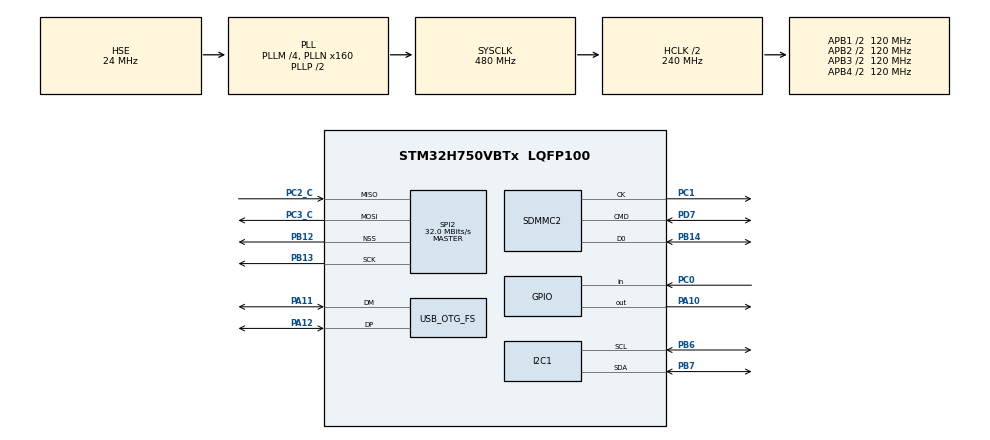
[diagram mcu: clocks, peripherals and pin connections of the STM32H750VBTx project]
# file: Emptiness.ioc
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CORTEX_M7.CPU_ICache=Enabled
CORTEX_M7.Enable-Cortex_Memory_Protection_Unit_Region0_Settings=__NULL
CORTEX_M7.MPU_Control=__NULL
I2C1.Timing=0x307075B1
Mcu.Family=STM32H7
Mcu.Name=STM32H750VBTx
Mcu.Package=LQFP100
NVIC.OTG_FS_IRQn=true\:0\:0\:false\:false\:true\:false\:true\:true
NVIC.PriorityGroup=NVIC_PRIORITYGROUP_4
NVIC.SDMMC2_IRQn=true\:0\:0\:false\:false\:true\:true\:true\:true
PA10.PinState=GPIO_PIN_SET
PA10.Signal=GPIO_Output
PA11.Mode=Device_Only
PA11.Signal=USB_OTG_FS_DM
PA12.Mode=Device_Only
PA12.Signal=USB_OTG_FS_DP
PA13\ (JTMS/SWDIO).Mode=Serial_Wire
PA13\ (JTMS/SWDIO).Signal=DEBUG_JTMS-SWDIO
PA14\ (JTCK/SWCLK).Mode=Serial_Wire
PA14\ (JTCK/SWCLK).Signal=DEBUG_JTCK-SWCLK
PB12.Mode=NSS_Signal_Hard_Output
PB12.Signal=SPI2_NSS
PB13.Mode=Full_Duplex_Master
PB13.Signal=SPI2_SCK
PB14.GPIO_PuPd=GPIO_PULLUP
PB14.Mode=SD_1_bit
PB14.Signal=SDMMC2_D0
PB6.GPIO_Pu=GPIO_PULLUP
PB6.Mode=I2C
PB6.Signal=I2C1_SCL
PB7.GPIO_Pu=GPIO_PULLUP
PB7.Mode=I2C
PB7.Signal=I2C1_SDA
PC0.GPIO_PuPd=GPIO_PULLUP
PC0.Signal=GPIO_Input
PC1.GPIO_PuPd=GPIO_PULLUP
PC1.Mode=SD_1_bit
PC1.Signal=SDMMC2_CK
PC2_C.Mode=Full_Duplex_Master
PC2_C.Signal=SPI2_MISO
PC3_C.Mode=Full_Duplex_Master
PC3_C.Signal=SPI2_MOSI
PD7.GPIO_PuPd=GPIO_PULLUP
PD7.Mode=SD_1_bit
PD7.Signal=SDMMC2_CMD
PH0-OSC_IN\ (PH0).Mode=HSE-External-Oscillator
PH0-OSC_IN\ (PH0).Signal=RCC_OSC_IN
PH1-OSC_OUT\ (PH1).Mode=HSE-External-Oscillator
PH1-OSC_OUT\ (PH1).Signal=RCC_OSC_OUT
ProjectManager.HeapSize=0x2000
ProjectManager.StackSize=0x4000
ProjectManager.TargetToolchain=STM32CubeIDE
RCC.ADCFreq_Value=192000000
RCC.APB1Freq_Value=120000000
RCC.APB2Freq_Value=120000000
RCC.APB3Freq_Value=120000000
RCC.APB4Freq_Value=120000000
RCC.CortexFreq_Value=480000000
RCC.D1PPRE=RCC_APB3_DIV2
RCC.D2PPRE1=RCC_APB1_DIV2
RCC.D2PPRE2=RCC_APB2_DIV2
RCC.D3PPRE=RCC_APB4_DIV2
RCC.DIVM1=4
RCC.DIVM2=8
RCC.DIVM3=16
RCC.DIVN1=160
RCC.DIVN2=128
RCC.DIVN3=128
RCC.DIVQ1=15
RCC.DIVQ3=4
RCC.DIVR2=16
RCC.EnbaleCSS=true
RCC.HCLKFreq_Value=240000000
RCC.HPRE=RCC_HCLK_DIV2
RCC.HSE_VALUE=24000000
RCC.PLLSourceVirtual=RCC_PLLSOURCE_HSE
RCC.SDMMC1CLockSelection=RCC_SDMMCCLKSOURCE_PLL2
RCC.SYSCLKFreq_VALUE=480000000
RCC.SYSCLKSource=RCC_SYSCLKSOURCE_PLLCLK
RCC.USBCLockSelection=RCC_USBCLKSOURCE_PLL3
RCC.USBFreq_Value=48000000
SDMMC2.ClockDiv=0
SPI2.BaudRatePrescaler=SPI_BAUDRATEPRESCALER_2
SPI2.CalculateBaudRate=32.0 MBits/s
SPI2.DataSize=SPI_DATASIZE_8BIT
SPI2.Direction=SPI_DIRECTION_2LINES
SPI2.IOSwap=SPI_IO_SWAP_DISABLE
SPI2.Mode=SPI_MODE_MASTER
SPI2.NSSPMode=SPI_NSS_PULSE_DISABLE
SPI2.VirtualNSS=VM_NSSHARD
SPI2.VirtualType=VM_MASTER
USB_DEVICE.CLASS_NAME_FS=MSC
USB_DEVICE.MSC_MEDIA_PACKET-MSC_FS=0x4000
USB_DEVICE.VirtualMode-MSC_FS=Msc
USB_DEVICE.VirtualModeFS=Msc_FS
USB_OTG_FS.VirtualMode=Device_Only
VP_USB_DEVICE_VS_USB_DEVICE_MSC_FS.Mode=MSC_FS
board=custom

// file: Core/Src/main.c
/* USER CODE BEGIN Header */
/**
  ******************************************************************************
  * @file           : main.c
  * @brief          : Main program body
  ******************************************************************************
  * @attention
  *
  * Copyright (c) 2022 STMicroelectronics.
  * All rights reserved.
  *
  * This software is licensed under terms that can be found in the LICENSE file
  * in the root directory of this software component.
  * If no LICENSE file comes with this software, it is provided AS-IS.
  *
  ******************************************************************************
  */
/* USER CODE END Header */
#include "main.h"
#include "i2c.h"
#include "sdmmc.h"
#include "spi.h"
#include "usb_device.h"
#include "gpio.h"

/* USER CODE BEGIN Includes */
//#include "usbd_cdc_if.h"
#include "string.h"
#include "stdio.h"
#include "stdlib.h"

#include "../../Drivers/HW/i2c_lcd.h"
#include "../../Drivers/HW/ly68l6400.h"

HAL_SD_CardInfoTypeDef SDCardInfo;
/* USER CODE END Includes */

void SystemClock_Config(void);

int main(void)
{
  /* USER CODE BEGIN 1 */
	uint8_t helo[] = "Hello World!\n";
  /* USER CODE END 1 */

  /* Enable I-Cache---------------------------------------------------------*/
  SCB_EnableICache();

  /* MCU Configuration--------------------------------------------------------*/

  /* Reset of all peripherals, Initializes the Flash interface and the Systick. */
  HAL_Init();

  /* Configure the system clock */
  SystemClock_Config();

  /* Initialize all configured peripherals */
  MX_GPIO_Init();
  MX_SDMMC2_SD_Init();
  MX_USB_DEVICE_Init();
  MX_SPI2_Init();
  MX_I2C1_Init();
  /* USER CODE BEGIN 2 */

//  lcd_init();
//
//  lcd_send_string("HELLO WORLD");
//
//  HAL_Delay(1000);
//
//  lcd_put_cur(1, 0);
//
//  lcd_send_string("from CTECH");
//
//  HAL_Delay(2000);

//  lcd_clear();

//  FATFS *fs;
//  fmount(fs, "", 1);

//  HAL_SD_CardInfoTypeDef info;
//
//    HAL_SD_GetCardInfo(&hsd2, &info);

  uint8_t data = 0x20;
  uint8_t addr = 1;
  uint8_t msgTx[] = {PSRAM_WRITE_CMD, addr, addr, addr, data, data+1, data+2};
  uint8_t msgRx[sizeof(msgTx)] = {0};
  uint8_t cmd[] = {PSRAM_READ_CMD, addr, addr, addr};

  PsramReset();
  uint8_t tmpData = 0;
  for(uint32_t i = 0; i < (8 * 1024 * 1024); i++) {
	  PsramWrite(i, &tmpData,1);
	  tmpData++;
  }

  uint8_t * tmpRxPtr = PsramRead(1023, PSRAM_SPI_PACKET_SIZE);
//HAL_Delay(1);
  /* USER CODE END 2 */

  /* Infinite loop */
  while (1)
  {

    /* USER CODE BEGIN 3 */
//	  CDC_Transmit_FS(helo, sizeof(helo));
//	  HAL_GPIO_TogglePin(GPIOA, GPIO_PIN_10); // toggle led
//	  HAL_Delay(1000);

//	  for(int i = 0; i<sizeof(msgTx); i++)
//		  msgRx[i]=0;
//	  msgTx[0] = PSRAM_WRITE_CMD;
//	  msgTx[1] = addr;
//	  msgTx[2] = addr;
//	  msgTx[3] = addr;
//	  msgTx[4] = data;
//	  msgTx[5] = data+1;
//	  msgTx[6] = data+2;
//	  HAL_SPI_Transmit(&hspi2, msgTx, sizeof(msgTx), 1); // tx
//	  msgTx[0] = PSRAM_READ_CMD;
//	  msgTx[1] = addr;
//	  msgTx[2] = addr;
//	  msgTx[3] = addr;
//	  msgTx[4] = 0;
//	  msgTx[5] = 0;
//	  msgTx[6] = 0;
//	  HAL_SPI_TransmitReceive(&hspi2, msgTx, msgRx, sizeof(msgTx), 1);
//	  HAL_Delay(1);

  }
  /* USER CODE END 3 */
}

void SystemClock_Config(void)
{
  RCC_OscInitTypeDef RCC_OscInitStruct = {0};
  RCC_ClkInitTypeDef RCC_ClkInitStruct = {0};

  /** Supply configuration update enable
  */
  HAL_PWREx_ConfigSupply(PWR_LDO_SUPPLY);

  /** Configure the main internal regulator output voltage
  */
  __HAL_PWR_VOLTAGESCALING_CONFIG(PWR_REGULATOR_VOLTAGE_SCALE0);

  while(!__HAL_PWR_GET_FLAG(PWR_FLAG_VOSRDY)) {}

  /** Macro to configure the PLL clock source
  */
  __HAL_RCC_PLL_PLLSOURCE_CONFIG(RCC_PLLSOURCE_HSE);

  /** Initializes the RCC Oscillators according to the specified parameters
  * in the RCC_OscInitTypeDef structure.
  */
  RCC_OscInitStruct.OscillatorType = RCC_OSCILLATORTYPE_HSE;
  RCC_OscInitStruct.HSEState = RCC_HSE_ON;
  RCC_OscInitStruct.PLL.PLLState = RCC_PLL_ON;
  RCC_OscInitStruct.PLL.PLLSource = RCC_PLLSOURCE_HSE;
  RCC_OscInitStruct.PLL.PLLM = 4;
  RCC_OscInitStruct.PLL.PLLN = 160;
  RCC_OscInitStruct.PLL.PLLP = 2;
  RCC_OscInitStruct.PLL.PLLQ = 15;
  RCC_OscInitStruct.PLL.PLLR = 2;
  RCC_OscInitStruct.PLL.PLLRGE = RCC_PLL1VCIRANGE_2;
  RCC_OscInitStruct.PLL.PLLVCOSEL = RCC_PLL1VCOWIDE;
  RCC_OscInitStruct.PLL.PLLFRACN = 0;
  if (HAL_RCC_OscConfig(&RCC_OscInitStruct) != HAL_OK)
  {
    Error_Handler();
  }

  /** Initializes the CPU, AHB and APB buses clocks
  */
  RCC_ClkInitStruct.ClockType = RCC_CLOCKTYPE_HCLK|RCC_CLOCKTYPE_SYSCLK
                              |RCC_CLOCKTYPE_PCLK1|RCC_CLOCKTYPE_PCLK2
                              |RCC_CLOCKTYPE_D3PCLK1|RCC_CLOCKTYPE_D1PCLK1;
  RCC_ClkInitStruct.SYSCLKSource = RCC_SYSCLKSOURCE_PLLCLK;
  RCC_ClkInitStruct.SYSCLKDivider = RCC_SYSCLK_DIV1;
  RCC_ClkInitStruct.AHBCLKDivider = RCC_HCLK_DIV2;
  RCC_ClkInitStruct.APB3CLKDivider = RCC_APB3_DIV2;
  RCC_ClkInitStruct.APB1CLKDivider = RCC_APB1_DIV2;
  RCC_ClkInitStruct.APB2CLKDivider = RCC_APB2_DIV2;
  RCC_ClkInitStruct.APB4CLKDivider = RCC_APB4_DIV2;

  if (HAL_RCC_ClockConfig(&RCC_ClkInitStruct, FLASH_LATENCY_4) != HAL_OK)
  {
    Error_Handler();
  }

  /** Enables the Clock Security System
  */
  HAL_RCC_EnableCSS();
}

void Error_Handler(void)
{
  __disable_irq();
  while (1)
  {
  }
}
